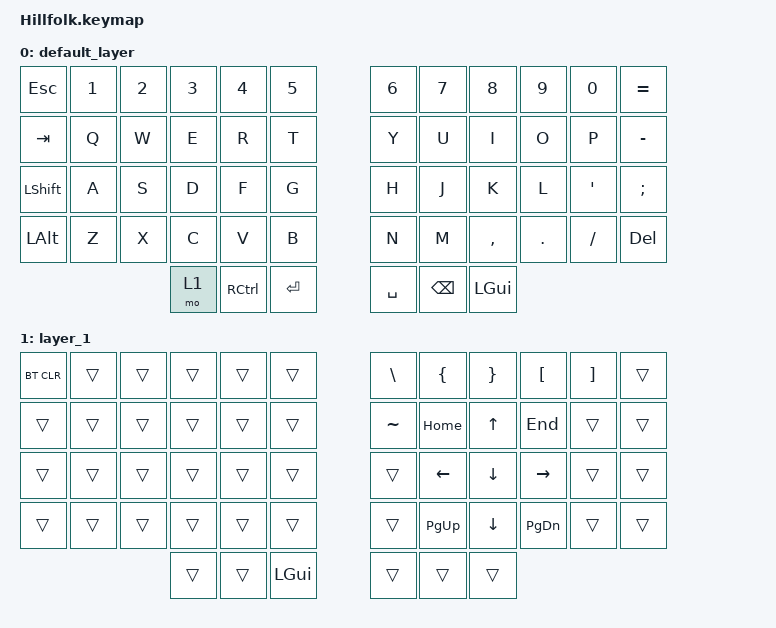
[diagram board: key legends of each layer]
#include <behaviors.dtsi>
#include <dt-bindings/zmk/bt.h>
#include <dt-bindings/zmk/keys.h>

/ {
    keymap {
        compatible = "zmk,keymap";

        default_layer {
            // -----------------------------------------------------------------------------------------
            // |  ESC |  1  |  2  |  3  |  4  |  5  |   |  6  |  7   |  8  |  9  |  0  | BSPC |
            // |  TAB |  Q  |  W  |  E  |  R  |  T  |   |  Y  |  U   |  I  |  O  |  P  | BSPC |
            // | CTRL |  A  |  S  |  D  |  F  |  G  |   |  H  |  J   |  K  |  L  |  ;  |  '   |
            // | SHFT |  Z  |  X  |  C  |  V  |  B  |   |  N  |  M   |  ,  |  .  |  /  | ESC  |
            //                    | GUI | LWR | SPC |   | ENT | RSE  | ALT |

            bindings = <
&kp ESCAPE  &kp N1  &kp N2  &kp N3    &kp N4    &kp N5       &kp N6     &kp N7    &kp N8     &kp N9   &kp N0    &kp EQUAL
&kp TAB     &kp Q   &kp W   &kp E     &kp R     &kp T        &kp Y      &kp U     &kp I      &kp O    &kp P     &kp MINUS
&kp LSHFT   &kp A   &kp S   &kp D     &kp F     &kp G        &kp H      &kp J     &kp K      &kp L    &kp SQT   &kp SEMI
&kp LALT       &kp Z   &kp X   &kp C     &kp V     &kp B        &kp N      &kp M     &kp COMMA  &kp DOT  &kp FSLH  &kp DEL
                            &mo 1  &kp RCTRL &kp RET      &kp SPACE  &kp BSPC  &kp LGUI
            >;
        };

        layer_1 {
            bindings = <                          
&bt BT_CLR  &trans  &trans  &trans  &trans  &trans          &kp BACKSLASH   &kp LEFT_BRACE   &kp RIGHT_BRACE    &kp LEFT_BRACKET    &kp RIGHT_BRACKET    &trans
&trans      &trans  &trans  &trans  &trans  &trans          &kp TILDE       &kp HOME        &kp UP              &kp END             &trans               &trans
&trans      &trans  &trans  &trans  &trans  &trans          &trans          &kp LEFT         &kp DOWN            &kp RIGHT           &trans               &trans
&trans      &trans  &trans  &trans  &trans  &trans          &trans          &kp PG_UP        &kp DOWN           &kp PAGE_DOWN       &trans               &trans
                            &trans  &trans  &kp LGUI        &trans          &trans           &trans
            >;
        };
    };
};
